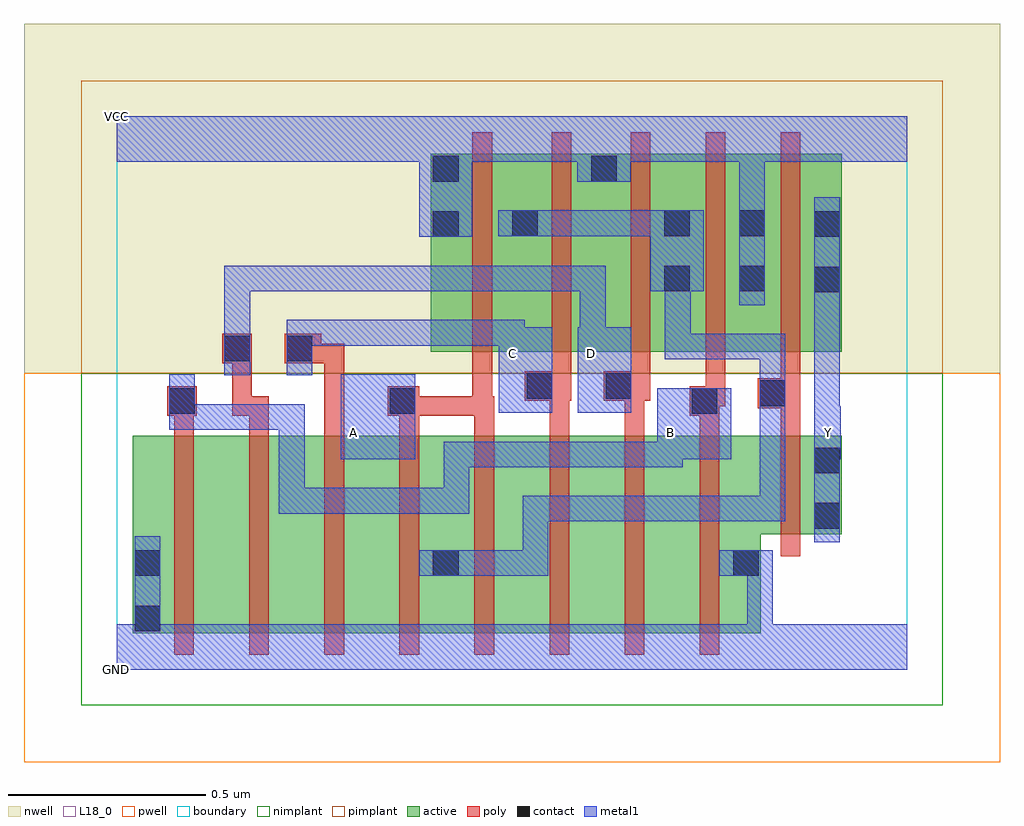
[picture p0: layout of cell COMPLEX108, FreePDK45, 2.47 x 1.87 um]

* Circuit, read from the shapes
.subckt COMPLEX108 A B C D GND VCC Y
M1 n1 B GND VSUBS nfet w=0.5u l=0.05u
M2 n2 D n1 VSUBS nfet w=0.5u l=0.05u
M3 n3 C n2 VSUBS nfet w=0.5u l=0.05u
M4 n4 A n3 VSUBS nfet w=0.5u l=0.05u
M5 n5 A n4 VSUBS nfet w=0.5u l=0.05u
M6 n6 C n5 VSUBS nfet w=0.5u l=0.05u
M7 n7 D n6 VSUBS nfet w=0.5u l=0.05u
M8 GND B n7 VSUBS nfet w=0.5u l=0.05u
M9 Y n4 GND VSUBS nfet w=0.25u l=0.05u
M10 n4 A VCC n8 pfet w=0.5u l=0.05u
M11 VCC C n4 n8 pfet w=0.5u l=0.05u
M12 n4 D VCC n8 pfet w=0.5u l=0.05u
M13 VCC B n4 n8 pfet w=0.5u l=0.05u
M14 Y n4 VCC n8 pfet w=0.5u l=0.05u
.ends

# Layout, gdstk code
import gdstk
lib = gdstk.Library(unit=1e-6, precision=1e-09)
def R(c, l, rs):  # rectangles x0, y0, x1, y1
    for r in rs: c.add(gdstk.rectangle(r[:2], r[2:], *l))
def A(c, l, x, y, w, h, nx, ny, dx, dy):  # array of equal rectangles
    R(c, l, [(x+i*dx, y+j*dy, x+i*dx+w, y+j*dy+h) for i in range(nx) for j in range(ny)])
active = (1, 0)
pwell = (2, 0)
nwell = (3, 0)
nimplant = (4, 0)
pimplant = (5, 0)
poly = (9, 0)
contact = (10, 0)
metal1 = (11, 0)
L18_0 = (18, 0)
boundary = (235, 0)

complex108 = lib.new_cell('COMPLEX108')
R(complex108, active, [(0.04,0.092,0.265,0.592), (0.04,0.092,0.115,0.592), (0.265,0.092,0.455,0.592), (0.455,0.092,0.645,0.592), (0.645,0.092,0.87,0.592), (0.795,0.092,1.025,0.592), (1.025,0.092,1.215,0.592), (1.215,0.092,1.405,0.592), (1.405,0.092,1.63,0.592), (1.555,0.092,1.63,0.497), (0.795,0.195,0.87,0.577), (1.555,0.342,1.835,0.592), (1.76,0.342,1.835,0.592), (0.795,0.805,1.07,1.305), (0.995,0.805,1.27,1.305), (1.195,0.805,1.455,1.305), (1.38,0.805,1.645,1.305), (1.57,0.805,1.835,1.305), (1.76,0.805,1.835,1.2), (0.795,0.807,0.87,1.305), (0.995,0.807,1.07,1.2), (1.195,0.807,1.27,1.305), (1.38,0.807,1.455,1.2), (1.57,0.807,1.645,1.305)])
R(complex108, pwell, [(-0.235,-0.235,2.235,0.75)])
R(complex108, nwell, [(-0.235,0.75,2.235,1.635)])
R(complex108, nimplant, [(-0.09,-0.09,2.09,0.75)])
R(complex108, pimplant, [(-0.09,0.75,2.09,1.49)])
A(complex108, poly, 0.145, 0.037, 0.05, 0.61, 8, 1, 0.19, 0)
A(complex108, poly, 0.9, 0.75, 0.05, 0.61, 3, 1, 0.2, 0)
R(complex108, poly, [(1.68,0.287,1.73,0.647), (0.145,0.597,0.195,0.692), (0.335,0.597,0.385,0.692), (0.525,0.597,0.575,0.825), (0.715,0.597,0.765,0.692), (0.905,0.597,0.955,0.692), (1.095,0.597,1.145,0.73), (1.285,0.597,1.335,0.73), (1.475,0.597,1.525,0.692), (1.68,0.597,1.73,0.712), (0.127,0.642,0.202,0.717), (0.292,0.642,0.342,0.825), (0.292,0.642,0.385,0.692), (0.685,0.642,0.765,0.717), (0.715,0.642,0.765,0.692), (0.715,0.642,0.765,0.692), (0.715,0.642,0.95,0.692), (0.9,0.642,0.95,0.692), (0.9,0.642,0.95,0.692), (0.9,0.642,0.95,0.8), (0.9,0.642,0.955,0.692), (1.45,0.642,1.525,0.717), (1.622,0.662,1.73,0.737), (1.475,0.667,1.525,0.717), (1.475,0.667,1.54,0.717), (1.49,0.667,1.54,0.8), (1.032,0.68,1.15,0.755), (1.095,0.68,1.145,0.73), (1.095,0.68,1.145,0.73), (1.232,0.68,1.35,0.755), (1.285,0.68,1.335,0.73), (1.285,0.68,1.335,0.73), (1.68,0.687,1.73,0.8), (1.68,0.687,1.73,0.737), (1.68,0.687,1.73,0.737), (1.1,0.705,1.15,0.8), (1.3,0.705,1.35,0.8), (1.49,0.75,1.54,1.36), (1.68,0.75,1.73,1.36), (0.267,0.775,0.342,0.85), (0.425,0.775,0.517,0.85), (0.467,0.775,0.517,0.825), (0.467,0.775,0.575,0.825)])
R(complex108, contact, [(0.045,0.097,0.11,0.162), (0.045,0.237,0.11,0.302), (0.8,0.237,0.865,0.302), (1.56,0.237,1.625,0.302), (1.765,0.357,1.83,0.422), (1.765,0.497,1.83,0.562), (0.132,0.647,0.197,0.712), (0.69,0.647,0.755,0.712), (1.455,0.647,1.52,0.712), (1.627,0.667,1.692,0.732), (1.037,0.685,1.102,0.75), (1.237,0.685,1.302,0.75), (0.272,0.78,0.337,0.845), (0.43,0.78,0.495,0.845), (1.765,0.955,1.83,1.02), (1.385,0.957,1.45,1.022), (1.575,0.957,1.64,1.022), (0.8,1.095,0.865,1.16), (1.765,1.095,1.83,1.16), (1,1.097,1.065,1.162), (1.385,1.097,1.45,1.162), (1.575,1.097,1.64,1.162), (0.8,1.235,0.865,1.3), (1.2,1.235,1.265,1.3)])
R(complex108, metal1, [(0,0,2,0.115), (0.045,0.05,0.11,0.127), (1.595,0.05,1.66,0.302), (0.045,0.062,0.11,0.337), (0.765,0.237,0.9,0.302), (0.835,0.237,0.9,0.302), (0.835,0.237,0.9,0.302), (0.835,0.237,1.092,0.302), (1.027,0.237,1.092,0.302), (1.027,0.237,1.092,0.44), (1.525,0.237,1.66,0.302), (1.765,0.322,1.83,0.597), (1.027,0.375,1.092,0.44), (1.027,0.375,1.092,0.44), (1.027,0.375,1.092,0.44), (1.027,0.375,1.24,0.44), (1.175,0.375,1.24,0.44), (1.175,0.375,1.24,0.44), (1.175,0.375,1.24,0.44), (1.175,0.375,1.44,0.44), (1.375,0.375,1.44,0.44), (1.375,0.375,1.44,0.44), (1.375,0.375,1.44,0.44), (1.375,0.375,1.692,0.44), (1.627,0.375,1.692,0.44), (1.627,0.375,1.692,0.697), (0.41,0.395,0.475,0.46), (0.41,0.395,0.692,0.46), (0.41,0.395,0.475,0.672), (0.627,0.395,0.692,0.46), (0.627,0.395,0.892,0.46), (0.827,0.395,0.892,0.46), (0.827,0.395,0.892,0.577), (0.827,0.512,0.892,0.577), (0.827,0.512,0.892,0.577), (0.827,0.512,0.892,0.577), (0.827,0.512,1.037,0.577), (0.972,0.512,1.037,0.577), (0.972,0.512,1.037,0.577), (0.972,0.512,1.037,0.577), (0.972,0.512,1.24,0.577), (1.175,0.512,1.24,0.577), (1.175,0.512,1.24,0.577), (1.175,0.512,1.24,0.577), (1.175,0.512,1.432,0.577), (1.367,0.512,1.432,0.597), (0.567,0.532,0.755,0.747), (1.367,0.532,1.432,0.597), (1.367,0.532,1.555,0.712), (1.765,0.532,1.83,0.597), (1.765,0.532,1.832,0.667), (1.765,0.602,1.83,0.985), (0.132,0.607,0.335,0.672), (0.132,0.607,0.197,0.677), (0.27,0.607,0.335,0.672), (0.27,0.607,0.335,0.672), (0.27,0.607,0.335,0.672), (0.27,0.607,0.475,0.672), (0.41,0.607,0.475,0.672), (0.41,0.607,0.475,0.672), (0.41,0.607,0.475,0.672), (0.132,0.612,0.197,0.677), (0.132,0.612,0.197,0.747), (1.627,0.632,1.692,0.697), (1.627,0.632,1.692,0.697), (1.627,0.632,1.692,0.767), (1.627,0.632,1.692,0.85), (0.967,0.65,1.102,0.867), (1.167,0.65,1.302,0.867), (0.272,0.745,0.337,0.88), (0.43,0.745,0.495,0.88), (1.387,0.785,1.452,0.85), (1.387,0.785,1.452,0.85), (1.387,0.785,1.452,0.85), (1.387,0.785,1.692,0.85), (1.387,0.785,1.452,1.022), (1.627,0.785,1.692,0.85), (0.967,0.802,1.032,0.867), (0.967,0.802,1.032,0.885), (1.167,0.802,1.232,0.867), (1.167,0.802,1.237,0.867), (1.172,0.802,1.237,1.022), (0.272,0.815,0.337,0.88), (0.272,0.815,0.337,0.88), (0.272,0.815,0.337,1.022), (0.43,0.815,0.495,0.88), (0.43,0.815,0.495,0.885), (0.43,0.82,0.755,0.885), (0.69,0.82,0.755,0.885), (0.69,0.82,0.755,0.885), (0.69,0.82,0.755,0.885), (0.69,0.82,0.895,0.885), (0.83,0.82,0.895,0.885), (0.83,0.82,1.032,0.885), (1.765,0.92,1.83,0.985), (1.765,0.92,1.83,0.985), (1.765,0.92,1.83,1.195), (1.575,0.922,1.64,1.197), (0.272,0.957,0.337,1.022), (0.272,0.957,0.495,1.022), (0.43,0.957,0.495,1.022), (0.43,0.957,0.495,1.022), (0.43,0.957,0.495,1.022), (0.43,0.957,0.632,1.022), (0.567,0.957,0.632,1.022), (0.567,0.957,0.632,1.022), (0.567,0.957,0.632,1.022), (0.567,0.957,0.895,1.022), (0.83,0.957,0.895,1.022), (0.83,0.957,1.092,1.022), (1.027,0.957,1.092,1.022), (1.027,0.957,1.092,1.022), (1.027,0.957,1.092,1.022), (1.027,0.957,1.237,1.022), (1.172,0.957,1.237,1.022), (1.35,0.957,1.485,1.162), (0.765,1.095,0.9,1.3), (0.965,1.097,1.1,1.162), (1.035,1.097,1.1,1.162), (1.035,1.097,1.1,1.162), (1.035,1.097,1.277,1.162), (1.212,1.097,1.277,1.162), (1.212,1.097,1.277,1.162), (1.212,1.097,1.277,1.162), (1.212,1.097,1.415,1.162), (1.35,1.097,1.415,1.162), (1.35,1.097,1.415,1.162), (1.575,1.132,1.64,1.35), (0.835,1.235,0.9,1.35), (1.165,1.235,1.3,1.3), (1.235,1.235,1.3,1.35), (0,1.285,2,1.4)])
R(complex108, L18_0, [(0,0,2,0.115), (0.045,0.05,0.11,0.127), (1.595,0.05,1.66,0.302), (0.045,0.062,0.11,0.337), (1.525,0.237,1.66,0.302), (1.765,0.322,1.83,0.597), (0.41,0.395,0.475,0.46), (0.41,0.395,0.475,0.672), (0.41,0.395,0.692,0.46), (0.627,0.395,0.692,0.46), (0.627,0.395,0.892,0.46), (0.827,0.395,0.892,0.46), (0.827,0.395,0.892,0.577), (0.827,0.512,0.892,0.577), (0.827,0.512,0.892,0.577), (0.827,0.512,0.892,0.577), (0.827,0.512,1.037,0.577), (0.972,0.512,1.037,0.577), (0.972,0.512,1.037,0.577), (0.972,0.512,1.037,0.577), (0.972,0.512,1.24,0.577), (1.175,0.512,1.24,0.577), (1.175,0.512,1.24,0.577), (1.175,0.512,1.24,0.577), (1.175,0.512,1.432,0.577), (1.367,0.512,1.432,0.597), (0.567,0.532,0.755,0.747), (1.367,0.532,1.432,0.597), (1.367,0.532,1.555,0.712), (1.765,0.532,1.83,0.597), (1.765,0.532,1.832,0.667), (0.567,0.567,0.632,0.632), (1.367,0.567,1.432,0.632), (1.767,0.567,1.832,0.632), (1.765,0.602,1.83,0.985), (0.132,0.607,0.197,0.677), (0.132,0.607,0.335,0.672), (0.27,0.607,0.335,0.672), (0.27,0.607,0.335,0.672), (0.27,0.607,0.335,0.672), (0.27,0.607,0.475,0.672), (0.41,0.607,0.475,0.672), (0.41,0.607,0.475,0.672), (0.41,0.607,0.475,0.672), (0.132,0.612,0.197,0.747), (0.132,0.612,0.197,0.677), (0.967,0.65,1.102,0.867), (1.167,0.65,1.302,0.867), (0.272,0.745,0.337,0.88), (0.43,0.745,0.495,0.88), (0.967,0.767,1.032,0.832), (1.167,0.767,1.232,0.832), (0.967,0.802,1.032,0.867), (0.967,0.802,1.032,0.885), (1.167,0.802,1.232,0.867), (1.167,0.802,1.237,0.867), (1.172,0.802,1.237,1.022), (0.272,0.815,0.337,0.88), (0.272,0.815,0.337,0.88), (0.272,0.815,0.337,1.022), (0.43,0.815,0.495,0.885), (0.43,0.815,0.495,0.88), (0.43,0.82,0.755,0.885), (0.69,0.82,0.755,0.885), (0.69,0.82,0.755,0.885), (0.69,0.82,0.755,0.885), (0.69,0.82,0.895,0.885), (0.83,0.82,0.895,0.885), (0.83,0.82,1.032,0.885), (1.765,0.92,1.83,1.195), (1.765,0.92,1.83,0.985), (1.765,0.92,1.83,0.985), (1.575,0.922,1.64,1.197), (0.272,0.957,0.337,1.022), (0.272,0.957,0.495,1.022), (0.43,0.957,0.495,1.022), (0.43,0.957,0.495,1.022), (0.43,0.957,0.495,1.022), (0.43,0.957,0.632,1.022), (0.567,0.957,0.632,1.022), (0.567,0.957,0.632,1.022), (0.567,0.957,0.632,1.022), (0.567,0.957,0.895,1.022), (0.83,0.957,0.895,1.022), (0.83,0.957,1.092,1.022), (1.027,0.957,1.092,1.022), (1.027,0.957,1.092,1.022), (1.027,0.957,1.092,1.022), (1.027,0.957,1.237,1.022), (1.172,0.957,1.237,1.022), (0.765,1.095,0.9,1.3), (1.575,1.132,1.64,1.35), (0.835,1.235,0.9,1.35), (1.165,1.235,1.3,1.3), (1.235,1.235,1.3,1.35), (0,1.285,2,1.4)])
R(complex108, boundary, [(0,0,2,1.4)])
complex108.add(gdstk.Label('A', (0.6,0.6), layer=11, texttype=0))
complex108.add(gdstk.Label('B', (1.4,0.6), layer=11, texttype=0))
complex108.add(gdstk.Label('C', (1,0.8), layer=11, texttype=0))
complex108.add(gdstk.Label('D', (1.2,0.8), layer=11, texttype=0))
complex108.add(gdstk.Label('Y', (1.8,0.6), layer=11, texttype=0))
complex108.add(gdstk.Label('VCC', (0,1.4), layer=11, texttype=0))
complex108.add(gdstk.Label('GND', (0,0), layer=11, texttype=0))

lib.write_gds('COMPLEX108.gds')
